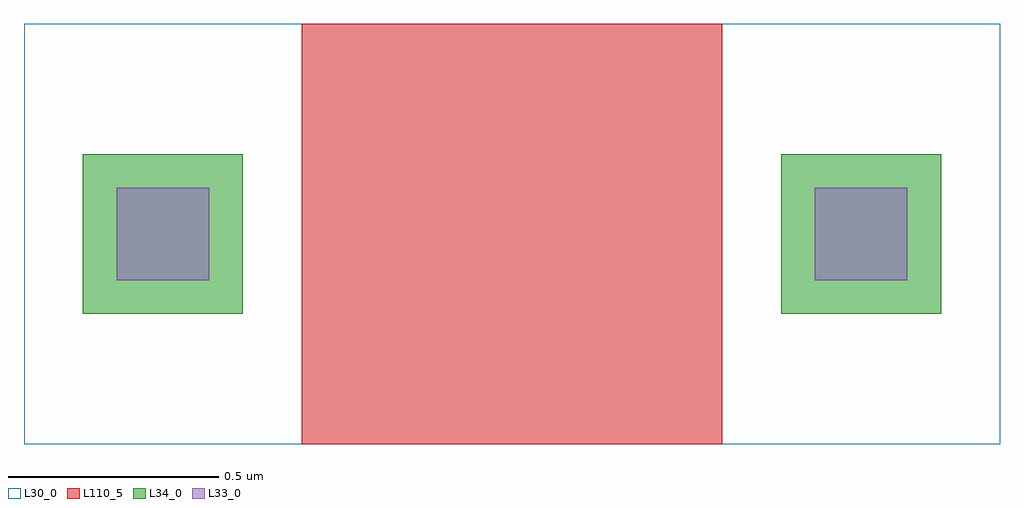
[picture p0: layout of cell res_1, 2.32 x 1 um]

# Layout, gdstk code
import gdstk
lib = gdstk.Library(unit=1e-6, precision=5e-09)
def R(c, l, rs):  # rectangles x0, y0, x1, y1
    for r in rs: c.add(gdstk.rectangle(r[:2], r[2:], *l))
L30_0 = (30, 0)
L33_0 = (33, 0)
L34_0 = (34, 0)
L110_5 = (110, 5)

res_1 = lib.new_cell('res_1')
R(res_1, L30_0, [(0.3,0.505,2.62,1.505)])
R(res_1, L33_0, [(0.52,0.895,0.74,1.115), (2.18,0.895,2.4,1.115)])
R(res_1, L34_0, [(0.44,0.815,0.82,1.195), (2.1,0.815,2.48,1.195)])
R(res_1, L110_5, [(0.96,0.505,1.96,1.505)])

lib.write_gds('res_1.gds')
